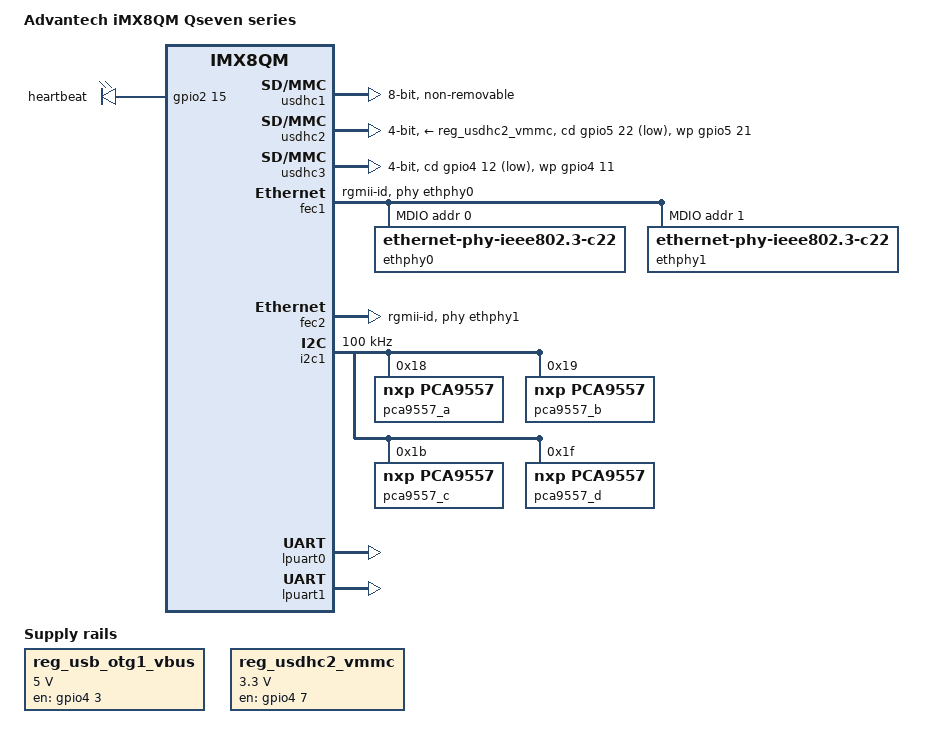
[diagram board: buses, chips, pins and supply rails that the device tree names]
// SPDX-License-Identifier:	GPL-2.0+
/*
 * Copyright (C) 2016 Freescale Semiconductor, Inc.
 * Copyright 2017 NXP
 */

/dts-v1/;

/* First 128KB is for PSCI ATF. */
/memreserve/ 0x80000000 0x00020000;

#include "fsl-imx8qm.dtsi"
#include "imx8qm-u-boot.dtsi"

/ {
	model = "Advantech iMX8QM Qseven series";
	compatible = "fsl,imx8qm-mek", "fsl,imx8qm";

	chosen {
		bootargs = "console=ttyLP0,115200 earlycon=lpuart32,0x5a060000,115200";
		stdout-path = &lpuart0;
	};

	leds {
		compatible = "gpio-leds";
		pinctrl-names = "default";
		pinctrl-0 = <&pinctrl_gpio_leds>;
		user {
			label = "heartbeat";
			gpios = <&gpio2 15 0>;
			default-state = "on";
			linux,default-trigger = "heartbeat";
		};
	};

	regulators {
		compatible = "simple-bus";
		#address-cells = <1>;
		#size-cells = <0>;

		reg_usb_otg1_vbus: regulator@0 {
			compatible = "regulator-fixed";
			reg = <0>;
			regulator-name = "usb_otg1_vbus";
			regulator-min-microvolt = <5000000>;
			regulator-max-microvolt = <5000000>;
			gpio = <&gpio4 3 GPIO_ACTIVE_HIGH>;
			enable-active-high;
		};

		reg_usdhc2_vmmc: usdhc2_vmmc {
			compatible = "regulator-fixed";
			regulator-name = "sw-3p3-sd1";
			regulator-min-microvolt = <3300000>;
			regulator-max-microvolt = <3300000>;
			gpio = <&gpio4 7 GPIO_ACTIVE_HIGH>;
			enable-active-high;
		};
	};
};

&iomuxc {
	pinctrl-names = "default";
	pinctrl-0 = <&pinctrl_hog_1>;

	imx8qm-mek {
		pinctrl_hog_1: hoggrp-1 {
			fsl,pins = <
				SC_P_USB_SS3_TC0_LSIO_GPIO4_IO03	0x06000048
			>;
		};

		pinctrl_fec1: fec1grp {
			fsl,pins = <
				SC_P_COMP_CTL_GPIO_1V8_3V3_ENET_ENETB_PAD	0x000014a0
				SC_P_ENET0_MDC_CONN_ENET0_MDC			0x06000048
				SC_P_ENET0_MDIO_CONN_ENET0_MDIO			0x06000048
				SC_P_ENET0_RGMII_TX_CTL_CONN_ENET0_RGMII_TX_CTL	0x00000060
				SC_P_ENET0_RGMII_TXC_CONN_ENET0_RGMII_TXC	0x00000060
				SC_P_ENET0_RGMII_TXD0_CONN_ENET0_RGMII_TXD0	0x00000060
				SC_P_ENET0_RGMII_TXD1_CONN_ENET0_RGMII_TXD1	0x00000060
				SC_P_ENET0_RGMII_TXD2_CONN_ENET0_RGMII_TXD2	0x00000060
				SC_P_ENET0_RGMII_TXD3_CONN_ENET0_RGMII_TXD3	0x00000060
				SC_P_ENET0_RGMII_RXC_CONN_ENET0_RGMII_RXC	0x00000060
				SC_P_ENET0_RGMII_RX_CTL_CONN_ENET0_RGMII_RX_CTL	0x00000060
				SC_P_ENET0_RGMII_RXD0_CONN_ENET0_RGMII_RXD0	0x00000060
				SC_P_ENET0_RGMII_RXD1_CONN_ENET0_RGMII_RXD1	0x00000060
				SC_P_ENET0_RGMII_RXD2_CONN_ENET0_RGMII_RXD2	0x00000060
				SC_P_ENET0_RGMII_RXD3_CONN_ENET0_RGMII_RXD3	0x00000060
			>;
		};

		pinctrl_fec2: fec2grp {
			fsl,pins = <
				SC_P_COMP_CTL_GPIO_1V8_3V3_ENET_ENETA_PAD	0x000014a0
				SC_P_ENET1_RGMII_TX_CTL_CONN_ENET1_RGMII_TX_CTL	0x00000060
				SC_P_ENET1_RGMII_TXC_CONN_ENET1_RGMII_TXC	0x00000060
				SC_P_ENET1_RGMII_TXD0_CONN_ENET1_RGMII_TXD0	0x00000060
				SC_P_ENET1_RGMII_TXD1_CONN_ENET1_RGMII_TXD1	0x00000060
				SC_P_ENET1_RGMII_TXD2_CONN_ENET1_RGMII_TXD2	0x00000060
				SC_P_ENET1_RGMII_TXD3_CONN_ENET1_RGMII_TXD3	0x00000060
				SC_P_ENET1_RGMII_RXC_CONN_ENET1_RGMII_RXC	0x00000060
				SC_P_ENET1_RGMII_RX_CTL_CONN_ENET1_RGMII_RX_CTL	0x00000060
				SC_P_ENET1_RGMII_RXD0_CONN_ENET1_RGMII_RXD0	0x00000060
				SC_P_ENET1_RGMII_RXD1_CONN_ENET1_RGMII_RXD1	0x00000060
				SC_P_ENET1_RGMII_RXD2_CONN_ENET1_RGMII_RXD2	0x00000060
				SC_P_ENET1_RGMII_RXD3_CONN_ENET1_RGMII_RXD3	0x00000060
			>;
		};

		pinctrl_lpuart0: lpuart0grp {
			fsl,pins = <
				SC_P_UART0_RX_DMA_UART0_RX		0x06000020
				SC_P_UART0_TX_DMA_UART0_TX		0x06000020
			>;
		};

		pinctrl_usdhc1: usdhc1grp {
			fsl,pins = <
				SC_P_EMMC0_CLK_CONN_EMMC0_CLK		0x06000041
				SC_P_EMMC0_CMD_CONN_EMMC0_CMD		0x00000021
				SC_P_EMMC0_DATA0_CONN_EMMC0_DATA0	0x00000021
				SC_P_EMMC0_DATA1_CONN_EMMC0_DATA1	0x00000021
				SC_P_EMMC0_DATA2_CONN_EMMC0_DATA2	0x00000021
				SC_P_EMMC0_DATA3_CONN_EMMC0_DATA3	0x00000021
				SC_P_EMMC0_DATA4_CONN_EMMC0_DATA4	0x00000021
				SC_P_EMMC0_DATA5_CONN_EMMC0_DATA5	0x00000021
				SC_P_EMMC0_DATA6_CONN_EMMC0_DATA6	0x00000021
				SC_P_EMMC0_DATA7_CONN_EMMC0_DATA7	0x00000021
				SC_P_EMMC0_STROBE_CONN_EMMC0_STROBE	0x06000041
				SC_P_EMMC0_RESET_B_CONN_EMMC0_RESET_B	0x00000021
			>;
		};

		pinctrl_usdhc1_100mhz: usdhc1grp100mhz {
			fsl,pins = <
				SC_P_EMMC0_CLK_CONN_EMMC0_CLK		0x06000040
				SC_P_EMMC0_CMD_CONN_EMMC0_CMD		0x00000020
				SC_P_EMMC0_DATA0_CONN_EMMC0_DATA0	0x00000020
				SC_P_EMMC0_DATA1_CONN_EMMC0_DATA1	0x00000020
				SC_P_EMMC0_DATA2_CONN_EMMC0_DATA2	0x00000020
				SC_P_EMMC0_DATA3_CONN_EMMC0_DATA3	0x00000020
				SC_P_EMMC0_DATA4_CONN_EMMC0_DATA4	0x00000020
				SC_P_EMMC0_DATA5_CONN_EMMC0_DATA5	0x00000020
				SC_P_EMMC0_DATA6_CONN_EMMC0_DATA6	0x00000020
				SC_P_EMMC0_DATA7_CONN_EMMC0_DATA7	0x00000020
				SC_P_EMMC0_STROBE_CONN_EMMC0_STROBE	0x06000040
				SC_P_EMMC0_RESET_B_CONN_EMMC0_RESET_B	0x00000020
			>;
		};

		pinctrl_usdhc1_200mhz: usdhc1grp200mhz {
			fsl,pins = <
				SC_P_EMMC0_CLK_CONN_EMMC0_CLK		0x06000040
				SC_P_EMMC0_CMD_CONN_EMMC0_CMD		0x00000020
				SC_P_EMMC0_DATA0_CONN_EMMC0_DATA0	0x00000020
				SC_P_EMMC0_DATA1_CONN_EMMC0_DATA1	0x00000020
				SC_P_EMMC0_DATA2_CONN_EMMC0_DATA2	0x00000020
				SC_P_EMMC0_DATA3_CONN_EMMC0_DATA3	0x00000020
				SC_P_EMMC0_DATA4_CONN_EMMC0_DATA4	0x00000020
				SC_P_EMMC0_DATA5_CONN_EMMC0_DATA5	0x00000020
				SC_P_EMMC0_DATA6_CONN_EMMC0_DATA6	0x00000020
				SC_P_EMMC0_DATA7_CONN_EMMC0_DATA7	0x00000020
				SC_P_EMMC0_STROBE_CONN_EMMC0_STROBE	0x06000040
				SC_P_EMMC0_RESET_B_CONN_EMMC0_RESET_B	0x00000020
			>;
		};

		pinctrl_usdhc2_gpio: usdhc2grpgpio {
			fsl,pins = <
				SC_P_USDHC1_DATA6_LSIO_GPIO5_IO21	0x00000021
				SC_P_USDHC1_DATA7_LSIO_GPIO5_IO22	0x00000021
				SC_P_USDHC1_RESET_B_LSIO_GPIO4_IO07	0x00000021
			>;
		};

		pinctrl_usdhc2: usdhc2grp {
			fsl,pins = <
				SC_P_USDHC1_CLK_CONN_USDHC1_CLK		0x06000041
				SC_P_USDHC1_CMD_CONN_USDHC1_CMD		0x00000021
				SC_P_USDHC1_DATA0_CONN_USDHC1_DATA0	0x00000021
				SC_P_USDHC1_DATA1_CONN_USDHC1_DATA1	0x00000021
				SC_P_USDHC1_DATA2_CONN_USDHC1_DATA2	0x00000021
				SC_P_USDHC1_DATA3_CONN_USDHC1_DATA3	0x00000021
				SC_P_USDHC1_VSELECT_CONN_USDHC1_VSELECT	0x00000021
			>;
		};

		pinctrl_usdhc2_100mhz: usdhc2grp100mhz {
			fsl,pins = <
				SC_P_USDHC1_CLK_CONN_USDHC1_CLK		0x06000040
				SC_P_USDHC1_CMD_CONN_USDHC1_CMD		0x00000020
				SC_P_USDHC1_DATA0_CONN_USDHC1_DATA0	0x00000020
				SC_P_USDHC1_DATA1_CONN_USDHC1_DATA1	0x00000020
				SC_P_USDHC1_DATA2_CONN_USDHC1_DATA2	0x00000020
				SC_P_USDHC1_DATA3_CONN_USDHC1_DATA3	0x00000020
				SC_P_USDHC1_VSELECT_CONN_USDHC1_VSELECT	0x00000020
			>;
		};

		pinctrl_usdhc2_200mhz: usdhc2grp200mhz {
			fsl,pins = <
				SC_P_USDHC1_CLK_CONN_USDHC1_CLK		0x06000040
				SC_P_USDHC1_CMD_CONN_USDHC1_CMD		0x00000020
				SC_P_USDHC1_DATA0_CONN_USDHC1_DATA0	0x00000020
				SC_P_USDHC1_DATA1_CONN_USDHC1_DATA1	0x00000020
				SC_P_USDHC1_DATA2_CONN_USDHC1_DATA2	0x00000020
				SC_P_USDHC1_DATA3_CONN_USDHC1_DATA3	0x00000020
				SC_P_USDHC1_VSELECT_CONN_USDHC1_VSELECT	0x00000020
			>;
		};

		pinctrl_usdhc3: usdhc3grp {
			fsl,pins = <
				SC_P_USDHC2_CLK_CONN_USDHC2_CLK		0x06000041
				SC_P_USDHC2_CMD_CONN_USDHC2_CMD		0x00000021
				SC_P_USDHC2_DATA0_CONN_USDHC2_DATA0	0x00000021
				SC_P_USDHC2_DATA1_CONN_USDHC2_DATA1	0x00000021
				SC_P_USDHC2_DATA2_CONN_USDHC2_DATA2	0x00000021
				SC_P_USDHC2_DATA3_CONN_USDHC2_DATA3	0x00000021
				/* WP */
				SC_P_USDHC2_WP_LSIO_GPIO4_IO11		0x00000021
				/* CD */
				SC_P_USDHC2_CD_B_LSIO_GPIO4_IO12	0x00000021
			>;
		};

		pinctrl_lpi2c1: lpi2c1grp {
			fsl,pins = <
				SC_P_GPT0_CLK_DMA_I2C1_SCL		0x06000020
				SC_P_GPT0_CAPTURE_DMA_I2C1_SDA		0x06000020
				/*
				 * Change the default alt function from SCL/SDA to others,
				 * to avoid select input conflict with GPT0
				 */
				SC_P_USB_SS3_TC0_LSIO_GPIO4_IO03	0x0700004c
				SC_P_USB_SS3_TC1_LSIO_GPIO4_IO04	0x0700004c
				SC_P_USB_SS3_TC2_LSIO_GPIO4_IO05	0x0700004c
				SC_P_USB_SS3_TC3_LSIO_GPIO4_IO06	0x0700004c
			>;
		};

		pinctrl_gpio_leds: gpioledsgrp {
			fsl,pins = <
				SC_P_SPDIF0_TX_LSIO_GPIO2_IO15		0x00000021
			>;
		};
	};
};

&gpio2 {
	status = "okay";
};

&gpio4 {
	status = "okay";
};

&gpio5 {
	status = "okay";
};

&usdhc1 {
	pinctrl-names = "default", "state_100mhz", "state_200mhz";
	pinctrl-0 = <&pinctrl_usdhc1>;
	pinctrl-1 = <&pinctrl_usdhc1_100mhz>;
	pinctrl-2 = <&pinctrl_usdhc1_200mhz>;
	bus-width = <8>;
	non-removable;
	status = "okay";
};

&usdhc2 {
	pinctrl-names = "default", "state_100mhz", "state_200mhz";
	pinctrl-0 = <&pinctrl_usdhc2>, <&pinctrl_usdhc2_gpio>;
	pinctrl-1 = <&pinctrl_usdhc2_100mhz>, <&pinctrl_usdhc2_gpio>;
	pinctrl-2 = <&pinctrl_usdhc2_200mhz>, <&pinctrl_usdhc2_gpio>;
	bus-width = <4>;
	cd-gpios = <&gpio5 22 GPIO_ACTIVE_LOW>;
	wp-gpios = <&gpio5 21 GPIO_ACTIVE_HIGH>;
	vmmc-supply = <&reg_usdhc2_vmmc>;
	status = "okay";
};

&usdhc3 {
	pinctrl-names = "default";
	pinctrl-0 = <&pinctrl_usdhc3>;
	bus-width = <4>;
	cd-gpios = <&gpio4 12 GPIO_ACTIVE_LOW>;
	wp-gpios = <&gpio4 11 GPIO_ACTIVE_HIGH>;
	status = "okay";
};

&fec1 {
	pinctrl-names = "default";
	pinctrl-0 = <&pinctrl_fec1>;
	phy-mode = "rgmii-id";
	phy-handle = <&ethphy0>;
	fsl,ar8031-phy-fixup;
	fsl,magic-packet;
	status = "okay";

	mdio {
		#address-cells = <1>;
		#size-cells = <0>;

		ethphy0: ethernet-phy@0 {
			compatible = "ethernet-phy-ieee802.3-c22";
			reg = <0>;
		};

		ethphy1: ethernet-phy@1 {
			compatible = "ethernet-phy-ieee802.3-c22";
			reg = <1>;
		};
	};
};

&fec2 {
	pinctrl-names = "default";
	pinctrl-0 = <&pinctrl_fec2>;
	phy-mode = "rgmii-id";
	phy-handle = <&ethphy1>;
	fsl,ar8031-phy-fixup;
	fsl,magic-packet;
	status = "okay";
};

&i2c1 {
	#address-cells = <1>;
	#size-cells = <0>;
	clock-frequency = <100000>;
	pinctrl-names = "default";
	pinctrl-0 = <&pinctrl_lpi2c1>;
	status = "okay";

	pca9557_a: gpio@18 {
		compatible = "nxp,pca9557";
		reg = <0x18>;
		gpio-controller;
		#gpio-cells = <2>;
	};

	pca9557_b: gpio@19 {
		compatible = "nxp,pca9557";
		reg = <0x19>;
		gpio-controller;
		#gpio-cells = <2>;
	};

	pca9557_c: gpio@1b {
		compatible = "nxp,pca9557";
		reg = <0x1b>;
		gpio-controller;
		#gpio-cells = <2>;
	};

	pca9557_d: gpio@1f {
		compatible = "nxp,pca9557";
		reg = <0x1f>;
		gpio-controller;
		#gpio-cells = <2>;
	};
};

&lpuart0 {
	pinctrl-names = "default";
	pinctrl-0 = <&pinctrl_lpuart0>;
	status = "okay";
};

&lpuart1 {
	status = "okay";
};
